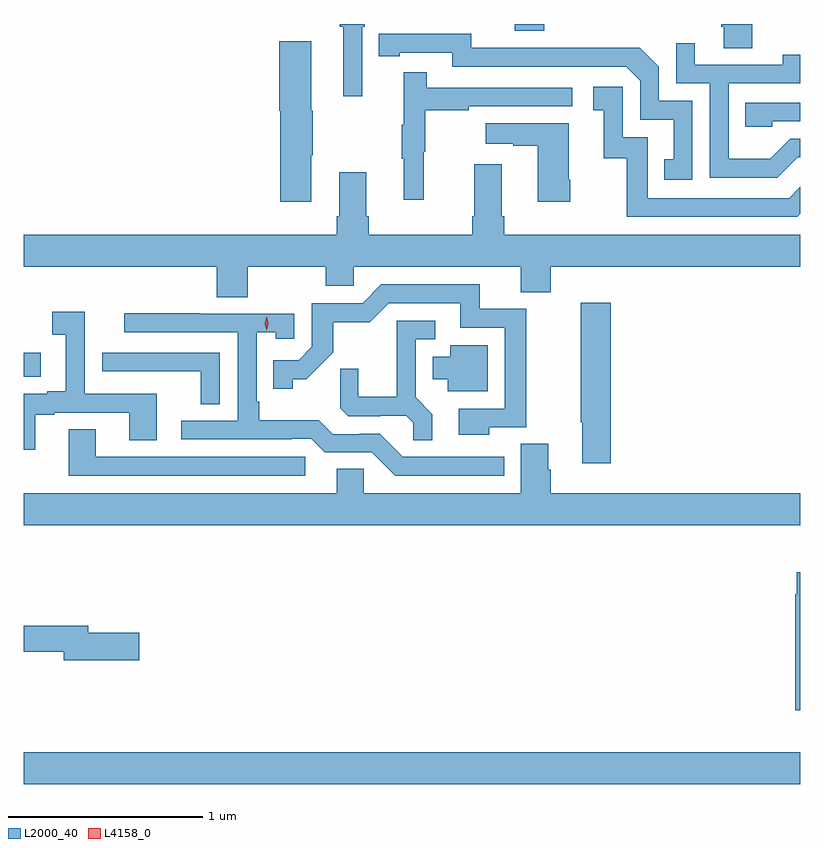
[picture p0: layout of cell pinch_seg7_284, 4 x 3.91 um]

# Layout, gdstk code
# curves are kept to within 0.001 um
import gdstk
lib = gdstk.Library(unit=1e-6, precision=1e-09)
def R(c, l, rs):  # rectangles x0, y0, x1, y1
    for r in rs: c.add(gdstk.rectangle(r[:2], r[2:], *l))
def P(c, l, *ps):  # polygons
    for p in ps: c.add(gdstk.Polygon(p, *l))
L2000_40 = (2000, 40)
L4158_0 = (4158, 0)

pinch_seg7_284 = lib.new_cell('pinch_seg7_284')
R(pinch_seg7_284, L2000_40, [(567.18,1064.552,571.18,1064.716), (567.18,1066.649,567.268,1066.773), (569.708,1068.431,569.861,1068.465)])
P(pinch_seg7_284, L2000_40, [(570.933,1068.465),(570.773,1068.465),(570.773,1068.45),(570.785,1068.45),(570.785,1068.34),(570.933,1068.34)],
  [(568.807,1068.452),(568.826,1068.452),(568.826,1068.093),(568.923,1068.093),(568.923,1068.452),(568.937,1068.452),(568.937,1068.465),(568.807,1068.465)],
  [(570.624,1068.069),(570.45,1068.069),(570.45,1068.246),(570.352,1068.344),(569.944,1068.344),(569.944,1068.342),(569.484,1068.342),(569.484,1068.415),(569.008,1068.414),(569.008,1068.298),(569.116,1068.298),(569.116,1068.318),(569.388,1068.318),(569.388,1068.246),(570.282,1068.246),(570.354,1068.174),(570.354,1067.973),(570.527,1067.973),(570.527,1067.769),(570.478,1067.769),(570.478,1067.664),(570.624,1067.664)],
  [(568.66,1067.788),(568.668,1067.788),(568.668,1068.018),(568.66,1068.018),(568.66,1068.376),(568.496,1068.376),(568.496,1068.018),(568.502,1068.018),(568.502,1067.55),(568.66,1067.55)],
  [(571.165,1067.778),(571.18,1067.778),(571.18,1067.874),(571.128,1067.874),(571.024,1067.77),(570.81,1067.77),(570.81,1068.159),(571.18,1068.159),(571.18,1068.307),(571.088,1068.307),(571.088,1068.255),(570.637,1068.255),(570.637,1068.367),(570.54,1068.367),(570.54,1068.159),(570.714,1068.159),(570.714,1067.673),(571.06,1067.673)],
  [(569.24,1067.808),(569.248,1067.808),(569.248,1068.022),(569.471,1068.022),(569.471,1068.042),(570.004,1068.042),(570.004,1068.138),(569.255,1068.138),(569.255,1068.217),(569.138,1068.217),(569.138,1067.945),(569.127,1067.945),(569.127,1067.771),(569.138,1067.771),(569.138,1067.559),(569.24,1067.559)],
  [(571.18,1067.488),(571.18,1067.626),(571.122,1067.568),(570.393,1067.568),(570.393,1067.883),(570.264,1067.883),(570.264,1068.142),(570.114,1068.142),(570.114,1068.021),(570.167,1068.021),(570.167,1067.775),(570.285,1067.775),(570.285,1067.472),(571.164,1067.472)],
  [(571.035,1067.964),(571.18,1067.964),(571.18,1068.06),(570.895,1068.06),(570.895,1067.937),(571.035,1067.937)],
  [(569.994,1067.662),(569.986,1067.662),(569.986,1067.953),(569.559,1067.953),(569.559,1067.849),(569.702,1067.849),(569.702,1067.839),(569.828,1067.839),(569.828,1067.55),(569.994,1067.55)],
  [(568.335,1067.216),(568.735,1067.216),(568.735,1067.118),(568.881,1067.118),(568.881,1067.216),(569.741,1067.216),(569.741,1067.083),(569.894,1067.083),(569.894,1067.216),(571.18,1067.216),(571.18,1067.38),(569.654,1067.38),(569.654,1067.476),(569.641,1067.476),(569.641,1067.743),(569.501,1067.743),(569.501,1067.476),(569.489,1067.476),(569.489,1067.38),(568.958,1067.38),(568.958,1067.476),(568.945,1067.476),(568.945,1067.701),(568.805,1067.701),(568.805,1067.476),(568.793,1067.476),(568.793,1067.38),(567.18,1067.38),(567.18,1067.216),(568.175,1067.216),(568.175,1067.059),(568.335,1067.059)],
  [(569.577,1066.389),(569.767,1066.389),(569.767,1066.998),(569.528,1066.998),(569.528,1067.124),(569.022,1067.124),(568.926,1067.028),(568.665,1067.028),(568.665,1066.803),(568.596,1066.734),(568.465,1066.734),(568.465,1066.587),(568.566,1066.587),(568.566,1066.637),(568.636,1066.637),(568.774,1066.774),(568.774,1066.93),(568.963,1066.93),(569.061,1067.028),(569.429,1067.028),(569.429,1066.902),(569.658,1066.902),(569.658,1066.485),(569.421,1066.485),(569.421,1066.349),(569.577,1066.349)],
  [(570.203,1067.029),(570.049,1067.029),(570.049,1066.415),(570.056,1066.415),(570.056,1066.203),(570.203,1066.203)],
  [(567.241,1066.452),(567.337,1066.452),(567.337,1066.464),(567.725,1066.464),(567.725,1066.321),(567.865,1066.321),(567.865,1066.56),(567.495,1066.56),(567.495,1066.984),(567.327,1066.984),(567.327,1066.864),(567.398,1066.864),(567.398,1066.573),(567.302,1066.573),(567.302,1066.56),(567.18,1066.56),(567.18,1066.272),(567.241,1066.272)],
  [(569.656,1066.236),(569.133,1066.236),(569.013,1066.356),(568.912,1066.356),(568.912,1066.353),(568.773,1066.353),(568.7,1066.426),(568.393,1066.426),(568.393,1066.519),(568.38,1066.519),(568.38,1066.877),(568.479,1066.877),(568.479,1066.845),(568.575,1066.845),(568.575,1066.974),(568.091,1066.974),(568.091,1066.977),(567.699,1066.977),(567.699,1066.878),(568.284,1066.878),(568.284,1066.422),(567.993,1066.422),(567.993,1066.326),(568.562,1066.326),(568.562,1066.329),(568.662,1066.329),(568.731,1066.26),(568.974,1066.26),(569.094,1066.14),(569.656,1066.14)],
  [(569.285,1066.457),(569.199,1066.543),(569.199,1066.842),(569.299,1066.842),(569.299,1066.938),(569.102,1066.938),(569.102,1066.546),(568.904,1066.546),(568.904,1066.689),(568.81,1066.689),(568.81,1066.487),(568.851,1066.446),(569.016,1066.446),(569.016,1066.449),(569.15,1066.449),(569.187,1066.412),(569.187,1066.321),(569.285,1066.321)],
  [(569.569,1066.81),(569.378,1066.81),(569.378,1066.753),(569.288,1066.753),(569.288,1066.637),(569.363,1066.637),(569.363,1066.574),(569.569,1066.574)],
  [(568.191,1066.773),(567.585,1066.773),(567.585,1066.678),(567.697,1066.678),(567.697,1066.677),(568.093,1066.677),(568.093,1066.507),(568.191,1066.507)],
  [(568.63,1066.236),(567.553,1066.236),(567.553,1066.379),(567.413,1066.379),(567.413,1066.14),(568.63,1066.14)],
  [(571.18,1066.048),(569.894,1066.048),(569.894,1066.17),(569.881,1066.17),(569.881,1066.304),(569.741,1066.304),(569.741,1066.048),(568.932,1066.048),(568.932,1066.175),(568.793,1066.175),(568.793,1066.048),(567.18,1066.048),(567.18,1065.884),(571.18,1065.884)],
  [(571.18,1065.643),(571.161,1065.643),(571.161,1065.53),(571.153,1065.53),(571.153,1064.933),(571.18,1064.933)],
  [(567.775,1065.332),(567.514,1065.332),(567.514,1065.368),(567.18,1065.368),(567.18,1065.232),(567.386,1065.232),(567.386,1065.19),(567.775,1065.19)])
P(pinch_seg7_284, L4158_0, [(568.431,1066.887),(568.431,1066.887),(568.421,1066.923),(568.431,1066.959),(568.431,1066.959),(568.432,1066.959),(568.441,1066.923),(568.432,1066.887)])

lib.write_gds('pinch_seg7_284.gds')
